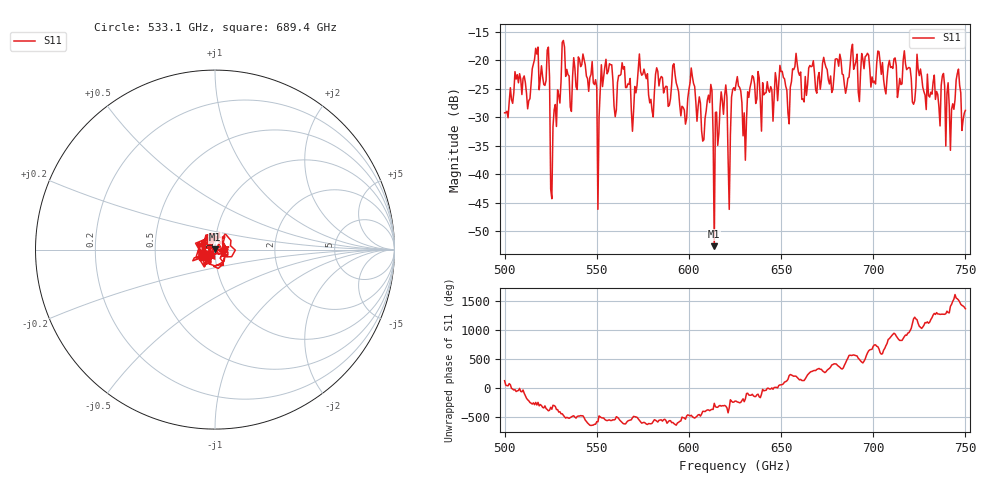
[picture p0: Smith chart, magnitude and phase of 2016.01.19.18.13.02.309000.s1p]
!Created with skrf (http://scikit-rf.org).
# GHz S RI R 50.0
!freq ReS11 ImS11
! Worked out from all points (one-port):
!   401 points, 500 GHz to 750 GHz, reference 50 ohm
!   lowest |S11| = -52.6 dB at 613.8 GHz (marker M1), VSWR 1.00, Z = 50 + j0.233 ohm
!   |S11| at or under -10 dB: start of sweep to end of sweep
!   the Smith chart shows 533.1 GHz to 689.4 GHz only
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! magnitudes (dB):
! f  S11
! 500 GHz  -29.2
! 513.1 GHz  -27.1
! 516.9 GHz  -17.9
! 523.1 GHz  -18.2
! 526.2 GHz  -31.6
! 531.2 GHz  -16.8
! 548.1 GHz  -24.0
! 550.6 GHz  -46.1
! 553.8 GHz  -22.9
! 562.5 GHz  -22.7
! 570 GHz  -28.8
! 573.8 GHz  -22.0
! 579.4 GHz  -26.8
! 593.8 GHz  -24.7
! 597.5 GHz  -28.7
! 601.9 GHz  -22.9
! 608.1 GHz  -33.9
! 611.2 GHz  -27.4
! 613.8 GHz  -52.6
! 618.8 GHz  -29.5
! 622.5 GHz  -33.1
! 625 GHz  -25.3
! 630 GHz  -29.2
! 634.4 GHz  -22.7
! 656.2 GHz  -21.5
! 687.5 GHz  -20.7
! 718.8 GHz  -21.4
! 750 GHz  -28.8
